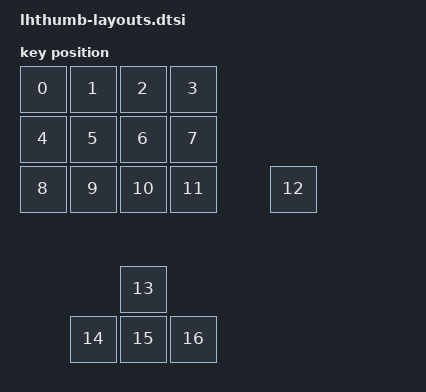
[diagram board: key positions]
// See https://zmk.dev/docs/development/hardware-integration/physical-layouts
// for how to configure this.

#include <physical_layouts.dtsi>

/ {
    default_layout: default_layout {
        compatible = "zmk,physical-layout";
        display-name = "Default Layout";
        transform = <&default_transform>;
        kscan = <&kscan>;

        keys  //                     w   h    x    y     rot    rx    ry
            = <&key_physical_attrs 100 100    0    0       0     0     0>
            , <&key_physical_attrs 100 100  100    0       0     0     0>
            , <&key_physical_attrs 100 100  200    0       0     0     0>
            , <&key_physical_attrs 100 100  300    0       0     0     0>
            , <&key_physical_attrs 100 100    0  100       0     0     0>
            , <&key_physical_attrs 100 100  100  100       0     0     0>
            , <&key_physical_attrs 100 100  200  100       0     0     0>
            , <&key_physical_attrs 100 100  300  100       0     0     0>
            , <&key_physical_attrs 100 100    0  200       0     0     0>
            , <&key_physical_attrs 100 100  100  200       0     0     0>
            , <&key_physical_attrs 100 100  200  200       0     0     0>
            , <&key_physical_attrs 100 100  300  200       0     0     0>
            , <&key_physical_attrs 100 100  500  200       0     0     0>
            , <&key_physical_attrs 100 100  200  400       0     0     0>
            , <&key_physical_attrs 100 100  100  500       0     0     0>
            , <&key_physical_attrs 100 100  200  500       0     0     0>
            , <&key_physical_attrs 100 100  300  500       0     0     0>
            ;
    };
};
